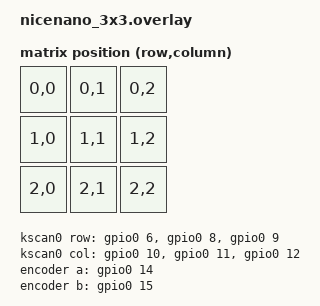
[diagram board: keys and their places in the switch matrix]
/*
 * Pinbelegung / Wiring Info
 * Board: nice!nano / nRF52840
 * Shield: nicenano_3x3
 *
 * Matrix: 3 rows x 3 columns
 * Diode direction: COL -> ROW (col2row)
 *
 * Rows:
 *   ROW0 = GPIO P0.06
 *   ROW1 = GPIO P0.08
 *   ROW2 = GPIO P0.09
 *
 * Columns:
 *   COL0 = GPIO P0.10
 *   COL1 = GPIO P0.11
 *   COL2 = GPIO P0.12
 *
 * Encoder:
 *   ENC_A = GPIO P0.14
 *   ENC_B = GPIO P0.15
 *   Pull-up enabled, active low
 *
 * RGB / WS2812:
 *   DATA  = GPIO P0.22
 *   LEDs  = 9
 *   Color mapping: GRB
 *
 * OLED / I2C0:
 *   SDA   = GPIO P0.17
 *   SCL   = GPIO P0.20
 *   Addr  = 0x3C
 *   Size  = 128x32
 */

#include <dt-bindings/zmk/matrix_transform.h>
#include <dt-bindings/led/led.h>

/ {
    chosen {
        zmk,kscan = &kscan0;
        zmk,matrix-transform = &default_transform;
        zmk,underglow = &led_strip;
    };

    default_transform: keymap_transform_0 {
        compatible = "zmk,matrix-transform";
        columns = <3>;
        rows = <3>;

        map = <
            RC(0,0) RC(0,1) RC(0,2)
            RC(1,0) RC(1,1) RC(1,2)
            RC(2,0) RC(2,1) RC(2,2)
        >;
    };

    kscan0: kscan {
        compatible = "zmk,kscan-gpio-matrix";
        diode-direction = "col2row";

        row-gpios
            = <&gpio0 6 (GPIO_ACTIVE_HIGH | GPIO_PULL_DOWN)>
            , <&gpio0 8 (GPIO_ACTIVE_HIGH | GPIO_PULL_DOWN)>
            , <&gpio0 9 (GPIO_ACTIVE_HIGH | GPIO_PULL_DOWN)>
            ;

        col-gpios
            = <&gpio0 10 GPIO_ACTIVE_HIGH>
            , <&gpio0 11 GPIO_ACTIVE_HIGH>
            , <&gpio0 12 GPIO_ACTIVE_HIGH>
            ;
    };

    encoder: encoder {
        compatible = "alps,ec11";
        a-gpios = <&gpio0 14 (GPIO_ACTIVE_LOW | GPIO_PULL_UP)>;
        b-gpios = <&gpio0 15 (GPIO_ACTIVE_LOW | GPIO_PULL_UP)>;
        steps = <80>;
        status = "okay";
    };

    sensors {
        compatible = "zmk,keymap-sensors";
        sensors = <&encoder>;
    };

    led_strip: ws2812 {
        compatible = "worldsemi,ws2812-gpio";
        label = "WS2812";
        chain-length = <9>;
        color-mapping = <LED_COLOR_ID_GREEN LED_COLOR_ID_RED LED_COLOR_ID_BLUE>;
        in-gpios = <&gpio0 22 GPIO_ACTIVE_HIGH>;
    };
};

&i2c0 {
    status = "okay";
    sda-pin = <17>;
    scl-pin = <20>;

    oled: ssd1306@3c {
        compatible = "solomon,ssd1306fb";
        reg = <0x3c>;
        width = <128>;
        height = <32>;
        segment-offset = <0>;
        page-offset = <0>;
        display-offset = <0>;
        multiplex-ratio = <31>;
        segment-remap;
        com-invdir;
        com-sequential;
        prechargep = <0x22>;
    };
};
